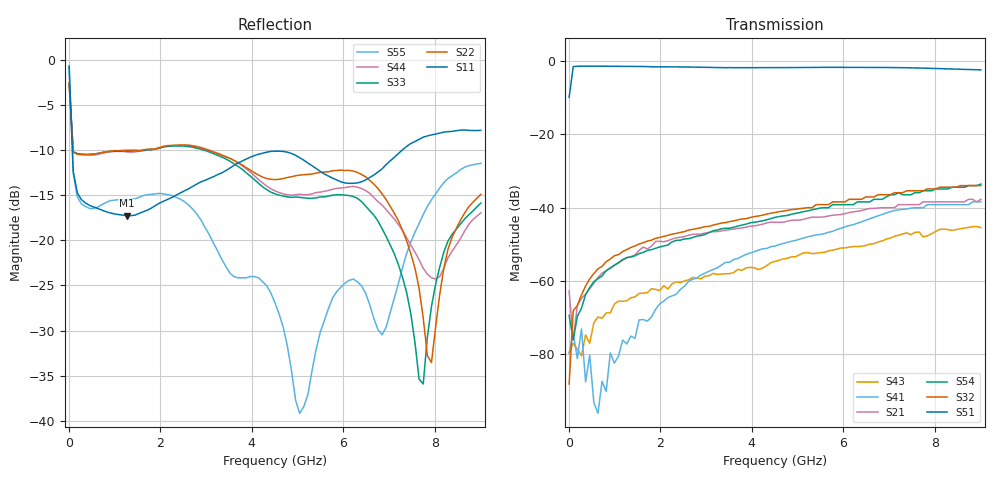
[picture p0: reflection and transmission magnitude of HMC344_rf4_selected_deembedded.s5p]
!Hittite Microwave Corporation
!12 Elizabeth Drive
!Chelmsford, MA 01824
!Tel: 978-250-3343
!Fax: 978-250-3373
!Device: HMC344, DC-8 GHz GaAs MMIC SP4T Non-Reflective Switch Die
!Misc: Room Temp Vctl=-5V Port1=RFC, Port2=RF1, Port3=RF2, Port4=RF3, Port5=RF4, RF4 ON.
# MHZ S MA R 50
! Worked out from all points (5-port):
!   101 points, 10 MHz to 9 GHz, reference 50 ohm
!   strongest paths, dB at 10 MHz, 2.257 GHz, 4.505 GHz, 6.753 GHz, 9 GHz:
!     S51: -9.9, -1.6, -1.8, -1.8, -2.4
!     S32: -88.1, -47.2, -41.3, -36.5, -34.0
!     S54: -69.4, -49.3, -42.6, -37.7, -33.6
!     S21: -62.7, -48.6, -44.0, -40.1, -37.7
!     S41: -79.9, -64.0, -50.5, -42.2, -38.4
!     S43: -79.4, -60.8, -54.6, -49.4, -45.4
!   lowest |S11| = -17.3 dB at 1.269 GHz (marker M1), VSWR 1.32, Z = 53.3 - j13.9 ohm
!   |S11| at or under -10 dB: 81.71 MHz to 7.282 GHz (7.2 GHz wide, 196 % of centre)
